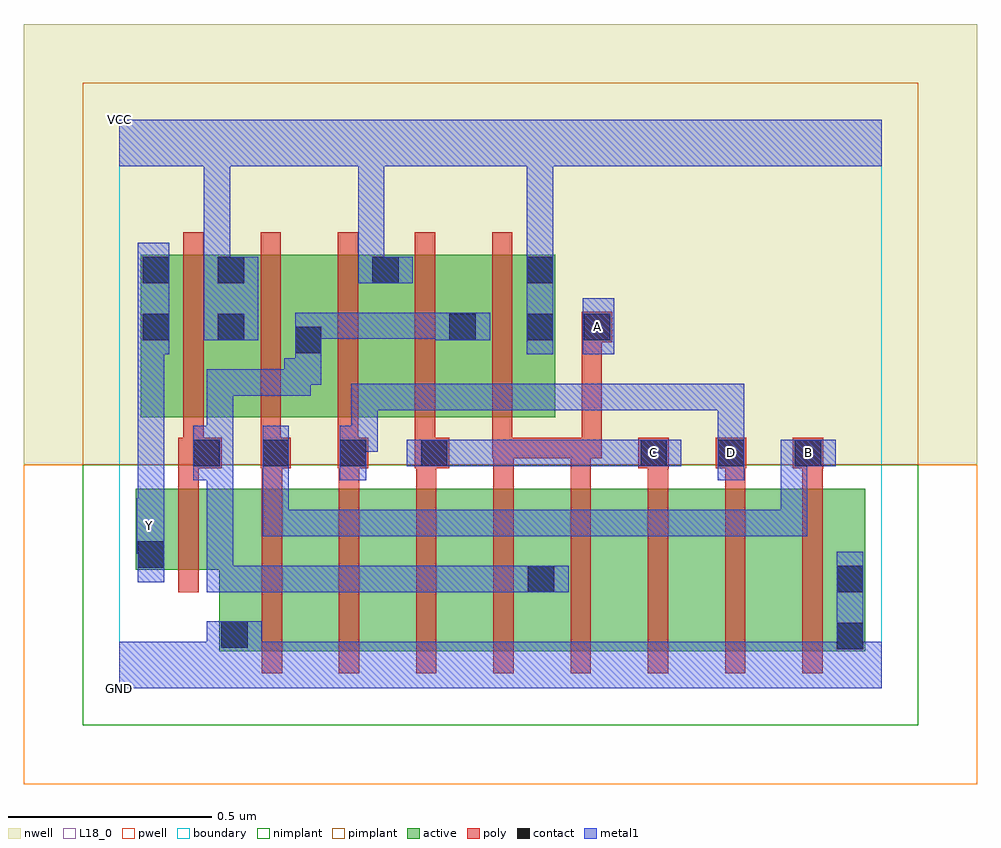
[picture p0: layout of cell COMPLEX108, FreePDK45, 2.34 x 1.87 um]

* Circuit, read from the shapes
.subckt COMPLEX108 A B C D GND VCC Y
M1 GND n1 Y VSUBS nfet w=0.2u l=0.05u
M2 n2 B GND VSUBS nfet w=0.4u l=0.05u
M3 n3 D n2 VSUBS nfet w=0.4u l=0.05u
M4 n4 C n3 VSUBS nfet w=0.4u l=0.05u
M5 n1 A n4 VSUBS nfet w=0.4u l=0.05u
M6 n5 A n1 VSUBS nfet w=0.4u l=0.05u
M7 n6 C n5 VSUBS nfet w=0.4u l=0.05u
M8 n7 D n6 VSUBS nfet w=0.4u l=0.05u
M9 GND B n7 VSUBS nfet w=0.4u l=0.05u
M10 VCC n1 Y n8 pfet w=0.4u l=0.05u
M11 n1 B VCC n8 pfet w=0.4u l=0.05u
M12 VCC D n1 n8 pfet w=0.4u l=0.05u
M13 n1 C VCC n8 pfet w=0.4u l=0.05u
M14 VCC A n1 n8 pfet w=0.4u l=0.05u
.ends

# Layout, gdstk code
import gdstk
lib = gdstk.Library(unit=1e-6, precision=1e-09)
def R(c, l, rs):  # rectangles x0, y0, x1, y1
    for r in rs: c.add(gdstk.rectangle(r[:2], r[2:], *l))
def A(c, l, x, y, w, h, nx, ny, dx, dy):  # array of equal rectangles
    R(c, l, [(x+i*dx, y+j*dy, x+i*dx+w, y+j*dy+h) for i in range(nx) for j in range(ny)])
active = (1, 0)
pwell = (2, 0)
nwell = (3, 0)
nimplant = (4, 0)
pimplant = (5, 0)
poly = (9, 0)
contact = (10, 0)
metal1 = (11, 0)
L18_0 = (18, 0)
boundary = (235, 0)

complex108 = lib.new_cell('COMPLEX108')
A(complex108, active, 0.237, 0.667, 0.265, 0.4, 4, 1, 0.19, 0)
R(complex108, active, [(0.245,0.092,0.47,0.492), (0.245,0.092,0.32,0.31), (0.47,0.092,0.66,0.492), (0.66,0.092,0.85,0.492), (0.85,0.092,1.075,0.492), (1,0.092,1.23,0.492), (1.23,0.092,1.42,0.492), (1.42,0.092,1.61,0.492), (1.61,0.092,1.835,0.492), (1.76,0.092,1.835,0.492), (1,0.095,1.075,0.492), (0.04,0.292,0.32,0.492), (0.04,0.292,0.115,0.492), (0.052,0.667,0.127,1.067), (0.052,0.667,0.312,1.067), (0.427,0.75,0.502,1.067), (0.807,0.817,0.882,1.067), (0.237,0.852,0.312,1.067), (0.997,0.852,1.072,1.067), (0.617,0.907,0.692,1.067)])
R(complex108, pwell, [(-0.235,-0.235,2.11,0.55)])
R(complex108, nwell, [(-0.235,0.55,2.11,1.635)])
R(complex108, nimplant, [(-0.09,-0.09,1.965,0.55)])
R(complex108, pimplant, [(-0.09,0.55,1.965,1.49)])
A(complex108, poly, 0.35, 0.037, 0.05, 0.51, 8, 1, 0.19, 0)
A(complex108, poly, 0.35, 0.497, 0.05, 0.095, 3, 1, 0.19, 0)
A(complex108, poly, 1.3, 0.497, 0.05, 0.095, 3, 1, 0.19, 0)
A(complex108, poly, 1.277, 0.542, 0.075, 0.075, 3, 1, 0.19, 0)
A(complex108, poly, 0.157, 0.567, 0.05, 0.095, 5, 1, 0.19, 0)
A(complex108, poly, 0.157, 0.612, 0.05, 0.51, 5, 1, 0.19, 0)
R(complex108, poly, [(0.145,0.237,0.195,0.547), (0.145,0.497,0.195,0.592), (0.92,0.497,0.97,0.617), (1.11,0.497,1.16,0.617), (0.145,0.542,0.252,0.617), (0.347,0.542,0.422,0.617), (0.537,0.542,0.612,0.617), (0.727,0.542,0.812,0.617), (0.917,0.567,0.97,0.617), (0.92,0.567,0.97,0.617), (0.92,0.567,0.97,0.617), (0.92,0.567,1.16,0.617), (1.11,0.567,1.172,0.617), (1.122,0.567,1.172,0.617), (1.122,0.567,1.187,0.617), (1.137,0.567,1.187,0.902), (1.137,0.852,1.212,0.927)])
A(complex108, contact, 1.282, 0.547, 0.065, 0.065, 3, 1, 0.19, 0)
A(complex108, contact, 0.242, 0.997, 0.065, 0.065, 3, 1, 0.38, 0)
R(complex108, contact, [(1.765,0.097,1.83,0.162), (0.25,0.1,0.315,0.165), (1.005,0.237,1.07,0.302), (1.765,0.237,1.83,0.302), (0.045,0.297,0.11,0.362), (0.182,0.547,0.247,0.612), (0.352,0.547,0.417,0.612), (0.542,0.547,0.607,0.612), (0.742,0.547,0.807,0.612), (0.432,0.825,0.497,0.89), (0.057,0.857,0.122,0.922), (0.242,0.857,0.307,0.922), (0.812,0.857,0.877,0.922), (1.002,0.857,1.067,0.922), (1.142,0.857,1.207,0.922), (0.057,0.997,0.122,1.062)])
R(complex108, metal1, [(0,0,1.875,0.115), (0.285,0.05,0.35,0.165), (1.765,0.05,1.83,0.127), (1.765,0.062,1.83,0.337), (0.215,0.1,0.35,0.165), (0.215,0.237,0.28,0.302), (0.215,0.237,0.28,0.302), (0.215,0.237,0.28,0.302), (0.215,0.237,0.47,0.302), (0.215,0.237,0.28,0.577), (0.405,0.237,0.47,0.302), (0.405,0.237,0.47,0.302), (0.405,0.237,0.47,0.302), (0.405,0.237,0.635,0.302), (0.57,0.237,0.635,0.302), (0.57,0.237,0.635,0.302), (0.57,0.237,0.635,0.302), (0.57,0.237,0.842,0.302), (0.777,0.237,0.842,0.302), (0.777,0.237,0.842,0.302), (0.777,0.237,0.842,0.302), (0.777,0.237,0.98,0.302), (0.915,0.237,0.98,0.302), (0.915,0.237,1.035,0.302), (0.97,0.237,1.105,0.302), (0.045,0.262,0.11,0.397), (0.042,0.332,0.11,0.467), (0.045,0.332,0.11,0.397), (0.352,0.375,0.417,0.44), (0.352,0.375,0.635,0.44), (0.352,0.375,0.417,0.577), (0.57,0.375,0.635,0.44), (0.57,0.375,0.635,0.44), (0.57,0.375,0.635,0.44), (0.57,0.375,0.842,0.44), (0.777,0.375,0.842,0.44), (0.777,0.375,0.842,0.44), (0.777,0.375,0.842,0.44), (0.777,0.375,0.98,0.44), (0.915,0.375,0.98,0.44), (0.915,0.375,1.175,0.44), (1.11,0.375,1.175,0.44), (1.11,0.375,1.175,0.44), (1.11,0.375,1.175,0.44), (1.11,0.375,1.4,0.44), (1.335,0.375,1.4,0.44), (1.335,0.375,1.4,0.44), (1.335,0.375,1.4,0.44), (1.335,0.375,1.555,0.44), (1.49,0.375,1.555,0.44), (1.49,0.375,1.555,0.44), (1.49,0.375,1.555,0.44), (1.49,0.375,1.692,0.44), (1.627,0.375,1.692,0.44), (1.627,0.375,1.692,0.612), (0.045,0.402,0.11,0.887), (0.182,0.512,0.247,0.647), (0.182,0.512,0.28,0.577), (0.215,0.512,0.28,0.577), (0.215,0.512,0.28,0.785), (0.352,0.512,0.417,0.577), (0.352,0.512,0.417,0.577), (0.352,0.512,0.417,0.647), (0.542,0.512,0.607,0.647), (1.472,0.512,1.537,0.647), (0.707,0.547,0.842,0.612), (0.777,0.547,0.842,0.612), (0.777,0.547,0.842,0.612), (0.777,0.547,1.037,0.612), (0.972,0.547,1.037,0.612), (0.972,0.547,1.037,0.612), (0.972,0.547,1.037,0.612), (0.972,0.547,1.175,0.612), (1.11,0.547,1.175,0.612), (1.11,0.547,1.312,0.612), (1.247,0.547,1.312,0.612), (1.247,0.547,1.312,0.612), (1.247,0.547,1.382,0.612), (1.627,0.547,1.692,0.612), (1.627,0.547,1.692,0.612), (1.627,0.547,1.762,0.612), (0.542,0.582,0.635,0.647), (0.57,0.582,0.635,0.647), (0.57,0.582,0.635,0.75), (1.472,0.582,1.537,0.647), (1.472,0.582,1.537,0.647), (1.472,0.582,1.537,0.75), (0.57,0.685,0.635,0.75), (0.57,0.685,0.842,0.75), (0.777,0.685,0.842,0.75), (0.777,0.685,0.842,0.75), (0.777,0.685,0.842,0.75), (0.777,0.685,0.98,0.75), (0.915,0.685,0.98,0.75), (0.915,0.685,0.98,0.75), (0.915,0.685,0.98,0.75), (0.915,0.685,1.175,0.75), (1.11,0.685,1.175,0.75), (1.11,0.685,1.4,0.75), (1.335,0.685,1.4,0.75), (1.335,0.685,1.4,0.75), (1.335,0.685,1.4,0.75), (1.335,0.685,1.537,0.75), (1.472,0.685,1.537,0.75), (0.215,0.72,0.28,0.785), (0.215,0.72,0.47,0.785), (0.405,0.72,0.47,0.812), (0.405,0.747,0.497,0.812), (0.432,0.747,0.497,0.925), (0.045,0.822,0.122,1.097), (1.002,0.822,1.067,1.097), (1.14,0.822,1.217,0.96), (0.207,0.857,0.342,1.062), (0.777,0.857,0.912,0.925), (0.432,0.86,0.497,0.925), (0.432,0.86,0.497,0.925), (0.432,0.86,0.635,0.925), (0.57,0.86,0.635,0.925), (0.57,0.86,0.635,0.925), (0.57,0.86,0.635,0.925), (0.57,0.86,0.842,0.925), (0.777,0.86,0.842,0.925), (0.777,0.86,0.842,0.925), (0.207,0.997,0.272,1.35), (0.587,0.997,0.722,1.062), (0.587,0.997,0.652,1.35), (1.002,1.032,1.067,1.097), (1.002,1.032,1.067,1.097), (1.002,1.032,1.067,1.35), (0,1.285,1.875,1.4), (0.207,1.285,0.272,1.35), (0.207,1.285,0.272,1.35), (0.587,1.285,0.652,1.35), (0.587,1.285,0.652,1.35)])
R(complex108, L18_0, [(0,0,1.875,0.115), (0.285,0.05,0.35,0.165), (1.765,0.05,1.83,0.127), (1.765,0.062,1.83,0.337), (0.215,0.1,0.35,0.165), (0.045,0.262,0.11,0.397), (0.042,0.332,0.11,0.467), (0.045,0.332,0.11,0.397), (0.042,0.367,0.107,0.432), (0.352,0.375,0.417,0.44), (0.352,0.375,0.417,0.577), (0.352,0.375,0.635,0.44), (0.57,0.375,0.635,0.44), (0.57,0.375,0.635,0.44), (0.57,0.375,0.635,0.44), (0.57,0.375,0.842,0.44), (0.777,0.375,0.842,0.44), (0.777,0.375,0.842,0.44), (0.777,0.375,0.842,0.44), (0.777,0.375,0.98,0.44), (0.915,0.375,0.98,0.44), (0.915,0.375,1.175,0.44), (1.11,0.375,1.175,0.44), (1.11,0.375,1.175,0.44), (1.11,0.375,1.175,0.44), (1.11,0.375,1.4,0.44), (1.335,0.375,1.4,0.44), (1.335,0.375,1.4,0.44), (1.335,0.375,1.4,0.44), (1.335,0.375,1.555,0.44), (1.49,0.375,1.555,0.44), (1.49,0.375,1.555,0.44), (1.49,0.375,1.555,0.44), (1.49,0.375,1.692,0.44), (1.627,0.375,1.692,0.44), (1.627,0.375,1.692,0.612), (0.045,0.402,0.11,0.887), (0.352,0.512,0.417,0.647), (0.352,0.512,0.417,0.577), (0.352,0.512,0.417,0.577), (0.542,0.512,0.607,0.647), (1.472,0.512,1.537,0.647), (0.707,0.547,0.842,0.612), (0.777,0.547,0.842,0.612), (0.777,0.547,0.842,0.612), (0.777,0.547,1.037,0.612), (0.972,0.547,1.037,0.612), (0.972,0.547,1.037,0.612), (0.972,0.547,1.037,0.612), (0.972,0.547,1.175,0.612), (1.11,0.547,1.175,0.612), (1.11,0.547,1.312,0.612), (1.247,0.547,1.312,0.612), (1.247,0.547,1.312,0.612), (1.247,0.547,1.382,0.612), (1.282,0.547,1.347,0.612), (1.472,0.547,1.537,0.612), (1.627,0.547,1.692,0.612), (1.627,0.547,1.692,0.612), (1.627,0.547,1.762,0.612), (1.662,0.547,1.727,0.612), (0.542,0.582,0.635,0.647), (0.57,0.582,0.635,0.647), (0.57,0.582,0.635,0.75), (1.472,0.582,1.537,0.647), (1.472,0.582,1.537,0.647), (1.472,0.582,1.537,0.75), (0.57,0.685,0.635,0.75), (0.57,0.685,0.842,0.75), (0.777,0.685,0.842,0.75), (0.777,0.685,0.842,0.75), (0.777,0.685,0.842,0.75), (0.777,0.685,0.98,0.75), (0.915,0.685,0.98,0.75), (0.915,0.685,0.98,0.75), (0.915,0.685,0.98,0.75), (0.915,0.685,1.175,0.75), (1.11,0.685,1.175,0.75), (1.11,0.685,1.4,0.75), (1.335,0.685,1.4,0.75), (1.335,0.685,1.4,0.75), (1.335,0.685,1.4,0.75), (1.335,0.685,1.537,0.75), (1.472,0.685,1.537,0.75), (0.045,0.822,0.122,1.097), (1.002,0.822,1.067,1.097), (1.14,0.822,1.217,0.96), (0.207,0.857,0.342,1.062), (1.142,0.857,1.207,0.922), (0.207,0.997,0.272,1.35), (0.587,0.997,0.722,1.062), (0.587,0.997,0.652,1.35), (1.002,1.032,1.067,1.097), (1.002,1.032,1.067,1.097), (1.002,1.032,1.067,1.35), (0,1.285,1.875,1.4), (0.207,1.285,0.272,1.35), (0.207,1.285,0.272,1.35), (0.587,1.285,0.652,1.35), (0.587,1.285,0.652,1.35)])
R(complex108, boundary, [(0,0,1.875,1.4)])
complex108.add(gdstk.Label('A', (1.175,0.89), layer=11, texttype=0))
complex108.add(gdstk.Label('B', (1.695,0.58), layer=11, texttype=0))
complex108.add(gdstk.Label('C', (1.315,0.58), layer=11, texttype=0))
complex108.add(gdstk.Label('D', (1.505,0.58), layer=11, texttype=0))
complex108.add(gdstk.Label('Y', (0.075,0.4), layer=11, texttype=0))
complex108.add(gdstk.Label('VCC', (0,1.4), layer=11, texttype=0))
complex108.add(gdstk.Label('GND', (0,0), layer=11, texttype=0))

lib.write_gds('COMPLEX108.gds')
